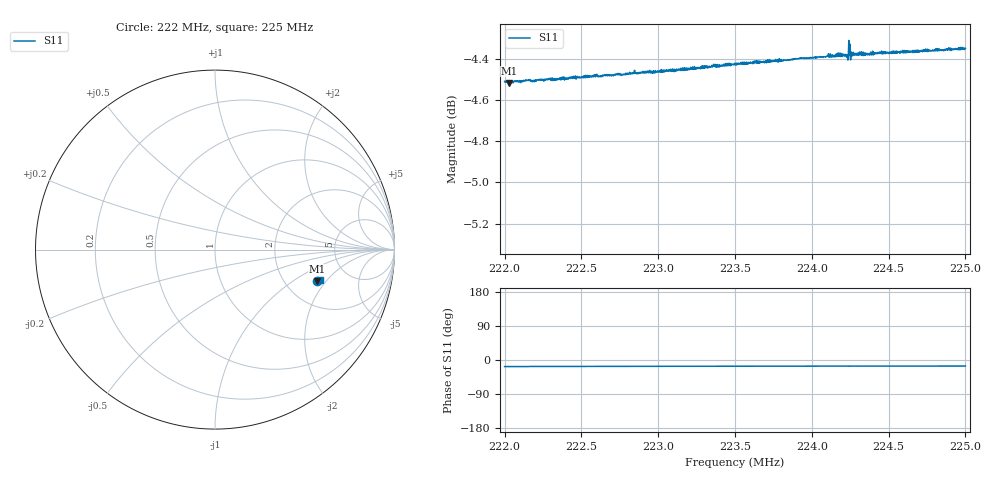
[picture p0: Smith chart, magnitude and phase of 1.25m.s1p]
! Calibrated averaged scanner-service zoom
# Hz S RI R 50
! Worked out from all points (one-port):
!   1001 points, 222 MHz to 225 MHz, reference 50 ohm
!   lowest |S11| = -4.5 dB at 222.03 MHz (marker M1), VSWR 3.93, Z = 148 - j80.8 ohm
!   |S11| at or under -10 dB: nowhere
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2.22e8  0.5683 -0.1766
2.2203e8  0.5678 -0.1761
2.22147e8  0.5689 -0.1759
2.22192e8  0.5686 -0.1751
2.22375e8  0.5704 -0.1744
2.2275e8  0.5721 -0.1729
2.22885e8  0.5724 -0.1721
2.22933e8  0.5732 -0.1724
2.23125e8  0.5738 -0.1708
2.235e8  0.5766 -0.1701
2.23875e8  0.5784 -0.1689
2.24073e8  0.5792 -0.1682
2.24139e8  0.5795 -0.1676
2.24169e8  0.5798 -0.1686
2.24214e8  0.5798 -0.1676
2.24223e8  0.5801 -0.1683
2.24226e8  0.5795 -0.1675
2.24232e8  0.58 -0.1682
2.2425e8  0.5799 -0.1677
2.24256e8  0.581 -0.1686
2.24259e8  0.5808 -0.1687
2.24265e8  0.5803 -0.1679
2.24277e8  0.5802 -0.1677
2.24307e8  0.5805 -0.1688
2.24352e8  0.5804 -0.1674
2.24394e8  0.5804 -0.1683
2.24625e8  0.5812 -0.1672
2.25e8  0.5828 -0.1667
